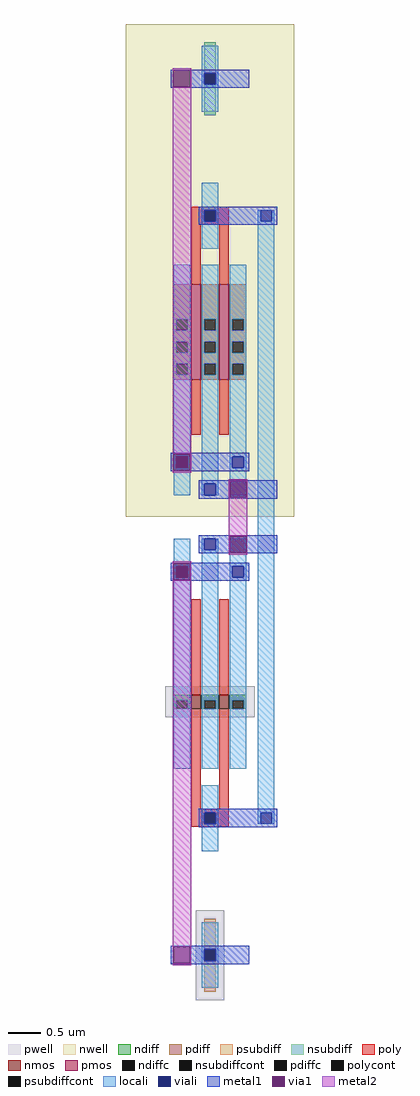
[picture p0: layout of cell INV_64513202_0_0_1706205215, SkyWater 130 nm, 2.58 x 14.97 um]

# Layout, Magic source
magic
tech sky130A
magscale 1 2
<< locali >>
rect 405 2419 413 2453
rect 447 2419 455 2453
rect 405 605 455 2419
rect 405 571 413 605
rect 447 571 455 605
<< viali >>
rect 413 2419 447 2453
rect 413 571 447 605
<< metal1 >>
rect 396 2453 464 2464
rect 396 2419 413 2453
rect 447 2419 464 2453
rect 396 2408 464 2419
rect 312 1622 376 1624
rect 312 1570 318 1622
rect 370 1570 376 1622
rect 312 1568 376 1570
rect 312 1454 376 1456
rect 312 1402 318 1454
rect 370 1402 376 1454
rect 312 1400 376 1402
rect 396 605 464 616
rect 396 571 413 605
rect 447 571 464 605
rect 396 560 464 571
<< via1 >>
rect 318 1570 370 1622
rect 318 1402 370 1454
<< metal2 >>
rect 316 1622 372 1628
rect 316 1570 318 1622
rect 370 1570 372 1622
rect 316 1454 372 1570
rect 316 1402 318 1454
rect 370 1402 372 1454
rect 316 1396 372 1402
use NMOS_S_1127905_X1_Y1_1706205215_1706205215  NMOS_S_1127905_X1_Y1_1706205215_1706205215_0
transform -1 0 516 0 -1 1512
box 52 56 395 1482
use PMOS_S_77083866_X1_Y1_1706205216_1706205215  PMOS_S_77083866_X1_Y1_1706205216_1706205215_0
transform -1 0 516 0 1 1512
box 0 0 516 1512
<< end >>

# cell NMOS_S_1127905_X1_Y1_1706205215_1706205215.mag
magic
tech sky130A
magscale 1 2
<< pwell >>
rect 215 1206 301 1482
rect 121 520 395 614
<< nmos >>
rect 200 546 230 588
rect 286 546 316 588
<< ndiff >>
rect 147 562 155 588
rect 189 562 200 588
rect 147 546 200 562
rect 230 562 241 588
rect 275 562 286 588
rect 230 546 286 562
rect 316 562 327 588
rect 361 562 369 588
rect 316 546 369 562
<< ndiffc >>
rect 155 562 189 588
rect 241 562 275 588
rect 327 562 361 588
<< psubdiff >>
rect 241 1361 275 1456
rect 241 1232 275 1327
<< psubdiffcont >>
rect 241 1327 275 1361
<< poly >>
rect 200 941 316 951
rect 200 907 241 941
rect 275 907 316 941
rect 200 897 316 907
rect 200 588 230 897
rect 286 588 316 897
rect 200 252 230 546
rect 286 252 316 546
<< polycont >>
rect 241 907 275 941
<< locali >>
rect 233 1361 283 1445
rect 233 1327 241 1361
rect 275 1327 283 1361
rect 233 1243 283 1327
rect 233 941 283 1025
rect 233 907 241 941
rect 275 907 283 941
rect 233 823 283 907
rect 147 588 197 773
rect 147 562 155 588
rect 189 562 197 588
rect 147 185 197 562
rect 147 151 155 185
rect 189 151 197 185
rect 147 67 197 151
rect 233 588 283 773
rect 233 562 241 588
rect 275 562 283 588
rect 233 101 283 562
rect 233 67 241 101
rect 275 67 283 101
rect 319 588 369 773
rect 319 562 327 588
rect 361 562 369 588
rect 319 185 369 562
rect 319 151 327 185
rect 361 151 369 185
rect 319 67 369 151
<< viali >>
rect 241 1327 275 1361
rect 241 907 275 941
rect 155 151 189 185
rect 241 67 275 101
rect 327 151 361 185
<< metal1 >>
rect 138 1370 378 1372
rect 138 1361 318 1370
rect 138 1327 241 1361
rect 275 1327 318 1361
rect 138 1318 318 1327
rect 370 1318 378 1370
rect 138 1316 378 1318
rect 52 941 292 952
rect 52 907 241 941
rect 275 907 292 941
rect 52 896 292 907
rect 138 194 378 196
rect 138 185 318 194
rect 138 151 155 185
rect 189 151 318 185
rect 138 142 318 151
rect 370 142 378 194
rect 138 140 378 142
rect 52 101 292 112
rect 52 67 241 101
rect 275 67 292 101
rect 52 56 292 67
<< via1 >>
rect 318 1318 370 1370
rect 318 185 370 194
rect 318 151 327 185
rect 327 151 361 185
rect 361 151 370 185
rect 318 142 370 151
<< metal2 >>
rect 316 1370 372 1376
rect 316 1318 318 1370
rect 370 1318 372 1370
rect 316 194 372 1318
rect 316 142 318 194
rect 370 142 372 194
rect 316 136 372 142
<< end >>

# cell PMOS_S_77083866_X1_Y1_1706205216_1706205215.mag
magic
tech sky130A
magscale 1 2
<< nwell >>
rect 0 0 516 1512
<< pmos >>
rect 200 420 230 714
rect 286 420 316 714
<< pdiff >>
rect 147 606 200 714
rect 147 572 155 606
rect 189 572 200 606
rect 147 538 200 572
rect 147 504 155 538
rect 189 504 200 538
rect 147 470 200 504
rect 147 436 155 470
rect 189 436 200 470
rect 147 420 200 436
rect 230 606 286 714
rect 230 572 241 606
rect 275 572 286 606
rect 230 538 286 572
rect 230 504 241 538
rect 275 504 286 538
rect 230 470 286 504
rect 230 436 241 470
rect 275 436 286 470
rect 230 420 286 436
rect 316 606 369 714
rect 316 572 327 606
rect 361 572 369 606
rect 316 538 369 572
rect 316 504 327 538
rect 361 504 369 538
rect 316 470 369 504
rect 316 436 327 470
rect 361 436 369 470
rect 316 420 369 436
<< pdiffc >>
rect 155 572 189 606
rect 155 504 189 538
rect 155 436 189 470
rect 241 572 275 606
rect 241 504 275 538
rect 241 436 275 470
rect 327 572 361 606
rect 327 504 361 538
rect 327 436 361 470
<< nsubdiff >>
rect 241 1361 275 1456
rect 241 1232 275 1327
<< nsubdiffcont >>
rect 241 1327 275 1361
<< poly >>
rect 200 941 316 951
rect 200 907 241 941
rect 275 907 316 941
rect 200 897 316 907
rect 200 714 230 897
rect 286 714 316 897
rect 200 252 230 420
rect 286 252 316 420
<< polycont >>
rect 241 907 275 941
<< locali >>
rect 233 1361 283 1445
rect 233 1327 241 1361
rect 275 1327 283 1361
rect 233 1243 283 1327
rect 233 941 283 1025
rect 233 907 241 941
rect 275 907 283 941
rect 233 823 283 907
rect 147 606 197 773
rect 147 572 155 606
rect 189 572 197 606
rect 147 538 197 572
rect 147 504 155 538
rect 189 504 197 538
rect 147 470 197 504
rect 147 436 155 470
rect 189 436 197 470
rect 147 185 197 436
rect 147 151 155 185
rect 189 151 197 185
rect 147 67 197 151
rect 233 606 283 773
rect 233 572 241 606
rect 275 572 283 606
rect 233 538 283 572
rect 233 504 241 538
rect 275 504 283 538
rect 233 470 283 504
rect 233 436 241 470
rect 275 436 283 470
rect 233 101 283 436
rect 233 67 241 101
rect 275 67 283 101
rect 319 606 369 773
rect 319 572 327 606
rect 361 572 369 606
rect 319 538 369 572
rect 319 504 327 538
rect 361 504 369 538
rect 319 470 369 504
rect 319 436 327 470
rect 361 436 369 470
rect 319 185 369 436
rect 319 151 327 185
rect 361 151 369 185
rect 319 67 369 151
<< viali >>
rect 241 1327 275 1361
rect 241 907 275 941
rect 155 151 189 185
rect 241 67 275 101
rect 327 151 361 185
<< metal1 >>
rect 138 1370 378 1372
rect 138 1361 318 1370
rect 138 1327 241 1361
rect 275 1327 318 1361
rect 138 1318 318 1327
rect 370 1318 378 1370
rect 138 1316 378 1318
rect 52 941 292 952
rect 52 907 241 941
rect 275 907 292 941
rect 52 896 292 907
rect 138 194 378 196
rect 138 185 318 194
rect 138 151 155 185
rect 189 151 318 185
rect 138 142 318 151
rect 370 142 378 194
rect 138 140 378 142
rect 52 101 292 112
rect 52 67 241 101
rect 275 67 292 101
rect 52 56 292 67
<< via1 >>
rect 318 1318 370 1370
rect 318 185 370 194
rect 318 151 327 185
rect 327 151 361 185
rect 361 151 370 185
rect 318 142 370 151
<< metal2 >>
rect 316 1370 372 1376
rect 316 1318 318 1370
rect 370 1318 372 1370
rect 316 194 372 1318
rect 316 142 318 194
rect 370 142 372 194
rect 316 136 372 142
<< end >>
